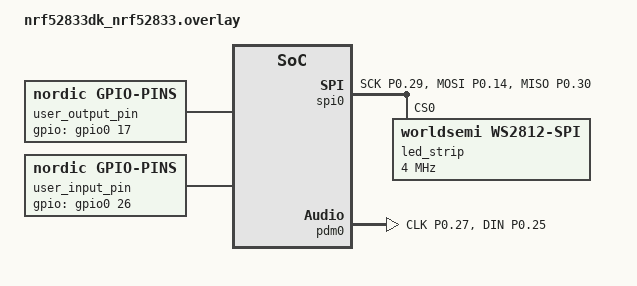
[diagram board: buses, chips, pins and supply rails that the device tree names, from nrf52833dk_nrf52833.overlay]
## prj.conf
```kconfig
CONFIG_ADC=y
CONFIG_NEWLIB_LIBC=y
CONFIG_NEWLIB_LIBC_FLOAT_PRINTF=y
CONFIG_GPIO=y
CONFIG_SPI=y
# CONFIG_WS2812_STRIP=y
CONFIG_LED_STRIP=y


CONFIG_BT=y
CONFIG_BT_PERIPHERAL=y
CONFIG_BT_DEVICE_NAME="Mic-Sense"

CONFIG_BT_BUF_ACL_TX_SIZE=251
CONFIG_BT_BUF_ACL_TX_COUNT=10
CONFIG_BT_BUF_ACL_RX_SIZE=251

# Enable dynamic TX power so USE_LOW_TX_POWER can set it at runtime (e.g. -8 dBm)
CONFIG_BT_CTLR_TX_PWR_DYNAMIC_CONTROL=y



CONFIG_RTT_CONSOLE=y
CONFIG_STDOUT_CONSOLE=y
CONFIG_UART_CONSOLE=n
CONFIG_USE_SEGGER_RTT=y
CONFIG_SHELL_BACKEND_RTT=y
CONFIG_LOG=y

CONFIG_CLOCK_CONTROL_NRF_K32SRC_RC=y
CONFIG_CLOCK_CONTROL_NRF_K32SRC_XTAL=n

# Clock source: NINA-B406 has NO LF crystal → use RC with calibration
CONFIG_CLOCK_CONTROL_NRF_K32SRC_RC=y
CONFIG_CLOCK_CONTROL_NRF_K32SRC_XTAL=n
CONFIG_CLOCK_CONTROL_NRF_K32SRC_RC_CALIBRATION=y


#central device role
CONFIG_BT=y
CONFIG_BT_CENTRAL=y
CONFIG_BT_OBSERVER=y
CONFIG_BT_GATT_CLIENT=y
CONFIG_BT_SCAN=y
CONFIG_BT_SMP=y
```

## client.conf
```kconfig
#central device role
CONFIG-CLIENT=y 
CONFIG_BT=y
CONFIG_BT_CENTRAL=y
CONFIG_BT_OBSERVER=y
CONFIG_BT_GATT_CLIENT=y
CONFIG_BT_SCAN=y
CONFIG_BT_SMP=y
```

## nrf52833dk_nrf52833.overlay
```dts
// To get started, press Ctrl+Space to bring up the completion menu and view the available nodes.

// You can also use the buttons in the sidebar to perform actions on nodes.
// Actions currently available include:

// * Enabling / disabling the node
// * Adding the bus to a bus
// * Removing the node
// * Connecting ADC channels

// For more help, browse the DeviceTree documentation at https://docs.zephyrproject.org/latest/guides/dts/index.html
// You can also visit the nRF DeviceTree extension documentation at https://docs.nordicsemi.com/bundle/nrf-connect-vscode/page/guides/ncs_configure_app.html#devicetree-support-in-the-extension

// 	model = "Nordic nRF52833 DK NRF52833";
// 	compatible = "nordic,nrf52833-dk-nrf52833";

#include <zephyr/dt-bindings/led/led.h>

// #include "nrf52-bindings.h"

&spi0 {
	compatible = "nordic,nrf-spi";
	status = "okay";
	pinctrl-0 = <&spi0_custom>;
	pinctrl-1 = <&spi0_sleep>;
	pinctrl-names = "default", "sleep";

	led_strip: ws2812@0 {
		compatible = "worldsemi,ws2812-spi";

		/* SPI */
		reg = <0>; /* ignored, but necessary for SPI bindings */
		spi-max-frequency = <4000000>;

		/* WS2812 */
		chain-length = <1>; /* arbitrary; change at will */
		color-mapping = <LED_COLOR_ID_GREEN
				 LED_COLOR_ID_RED
				 LED_COLOR_ID_BLUE>;
		spi-one-frame = <0x70>;
		spi-zero-frame = <0x40>;
        status = "okay";
	};

	
};

/ {
	aliases {
		led-strip = &led_strip;
	};
};

&pinctrl {
	spi0_custom: spi0_custom {
		group1 {
			psels = <NRF_PSEL(SPIM_SCK, 0, 29)>,
				<NRF_PSEL(SPIM_MOSI, 0, 14)>,
				<NRF_PSEL(SPIM_MISO, 0, 30)>;
		};
	};

	spi0_sleep: spi0_sleep {
		group1 {
			psels = <NRF_PSEL(SPIM_SCK, 0, 29)>,
				<NRF_PSEL(SPIM_MOSI, 0, 14)>,
				<NRF_PSEL(SPIM_MISO, 0, 30)>;
			low-power-enable;
		};
	};
};


&gpio0 {
    status = "okay";
};


/ {
    user_output_pin: user-output-pin {
        compatible = "nordic,gpio-pins";
        gpios = <&gpio0 17 GPIO_ACTIVE_HIGH>;
        status = "okay";
    };

};

/ {
    user_input_pin: user-input-pin {
        compatible = "nordic,gpio-pins";
        gpios = <&gpio0 26 GPIO_ACTIVE_HIGH>;
        status = "okay";
    };
};


&pdm0 {
    status = "okay";
    pinctrl-0 = <&pdm_default>;
    pinctrl-1 = <&pdm_sleep>;
    pinctrl-names = "default", "sleep";
};

&pinctrl {
    pdm_default: pdm_default {
        group1 {
            psels = <NRF_PSEL(PDM_CLK, 0, 27)>,
                    <NRF_PSEL(PDM_DIN, 0, 25)>;
        };
    };

    pdm_sleep: pdm_sleep {
        group1 {
            psels = <NRF_PSEL(PDM_CLK, 0, 27)>,
                    <NRF_PSEL(PDM_DIN, 0, 25)>;
            low-power-enable;
        };
    };
};
```

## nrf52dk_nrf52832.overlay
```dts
#include <zephyr/dt-bindings/led/led.h>

#include "nrf52-bindings.h"

&arduino_spi { /* MOSI on D11 / P0.23 */
	compatible = "nordic,nrf-spim";
	led_strip: ws2812@0 {
		compatible = "worldsemi,ws2812-spi";

		/* SPI */
		reg = <0>; /* ignored, but necessary for SPI bindings */
		spi-max-frequency = <SPI_FREQ>;

		/* WS2812 */
		chain-length = <4>; /* arbitrary; change at will */
		color-mapping = <LED_COLOR_ID_GREEN
				 LED_COLOR_ID_RED
				 LED_COLOR_ID_BLUE>;
		spi-one-frame = <ONE_FRAME>;
		spi-zero-frame = <ZERO_FRAME>;
	};
};

/ {
	aliases {
		led-strip = &led_strip;
	};
};
```

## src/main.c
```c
#include <zephyr/device.h>
#include <zephyr/devicetree.h>
#include <zephyr/drivers/adc.h>
#include <zephyr/kernel.h>
#include <zephyr/sys/util.h>
#include <zephyr/device.h>
#include <zephyr/devicetree.h>
#include <zephyr/drivers/gpio.h>
#include "micsense_service.h"
#include <zephyr/drivers/led_strip.h>
#include <stddef.h>
#include <string.h>
#include <errno.h>
#include <soc.h>
#include <math.h>
#include <stdio.h>

#ifndef M_PI
#define M_PI 3.14159265358979323846f
#endif


/* ──────────────────────────────────────────────────────────────
 * Status LED control (WS2812)
 *
 * If USE_STATUS_LED is defined at compile time, the WS2812 status
 * LED will be driven normally. If it is NOT defined, all LED calls
 * become no‑ops so you can measure current without LED impact.
 * ──────────────────────────────────────────────────────────── */

#ifdef USE_STATUS_LED

#define STRIP_NODE DT_ALIAS(led_strip)
#define STRIP_NUM_PIXELS DT_PROP(STRIP_NODE, chain_length)
#define DELAY_TIME K_MSEC(5)

#define LED_BLINK_ADV_SLOW K_MSEC(1000)  // Slow blinking (yellow) for advertising
#define LED_BLINK_CONN_FAST K_MSEC(200) // Fast blinking (orange) for connecting
#define LED_CONNECTED_GREEN K_MSEC(0)   // Solid green for connected


static enum ble_state current_ble_state = BLE_STATE_IDLE;
static struct k_timer led_blink_timer;
static bool led_on = false;

static struct led_rgb pixels[STRIP_NUM_PIXELS];
static const struct device *strip = DEVICE_DT_GET(STRIP_NODE);

#else /* !USE_STATUS_LED */

void update_led_strip(uint8_t r, uint8_t g, uint8_t b)
{
    ARG_UNUSED(r);
    ARG_UNUSED(g);
    ARG_UNUSED(b);
}

void update_led_state(enum ble_state state)
{
    ARG_UNUSED(state);
}

#endif /* USE_STATUS_LED */

#define EN_PIN_NODE DT_NODELABEL(user_output_pin)
static const struct gpio_dt_spec pwr_En = GPIO_DT_SPEC_GET(EN_PIN_NODE, gpios);

#define PAIR_PIN DT_NODELABEL(user_input_pin)
static const struct gpio_dt_spec pair_pin = GPIO_DT_SPEC_GET(PAIR_PIN, gpios);

static struct gpio_callback input_cb_data;
static struct k_work button_work;

bool status = false;
int count = 0;
static bool advertising_active = false;
#define AUDIO_BUFFER_SIZE 16000 // e.g., 1 second at 16 kHz
int16_t audio_buffer[AUDIO_BUFFER_SIZE];
volatile uint32_t audio_write_index = 0;

#define SLEEP_TIME_MS 100
float db = 0.0;
int16_t db_int = 0;
#define ADC_NODE DT_NODELABEL(adc)
static const struct device *adc_dev = DEVICE_DT_GET(ADC_NODE);

#define ADC_RESOLUTION 12
#define ADC_CHANNEL 0
#define ADC_PORT SAADC_CH_PSELP_PSELP_AnalogInput0 // AIN0
#define ADC_REFERENCE ADC_REF_INTERNAL             // 0.6V
#define ADC_GAIN ADC_GAIN_1_6                      // ADC_REFERENCE * 5

#define BATTERY_ADC_CHANNEL 1                              // Battery
#define BATTERY_ADC_PORT SAADC_CH_PSELP_PSELP_AnalogInput1 // AIN1

struct adc_channel_cfg chl0_cfg = {
    .gain = ADC_GAIN,
    .reference = ADC_REFERENCE,
    .acquisition_time = ADC_ACQ_TIME_DEFAULT,
    .channel_id = ADC_CHANNEL,
#ifdef CONFIG_ADC_NRFX_SAADC
    .input_positive = ADC_PORT
#endif
};

// Config for the battery ADC
struct adc_channel_cfg battery_ch_cfg = {
    .gain = ADC_GAIN,
    .reference = ADC_REFERENCE,
    .acquisition_time = ADC_ACQ_TIME_DEFAULT,
    .channel_id = BATTERY_ADC_CHANNEL,
#ifdef CONFIG_ADC_NRFX_SAADC
    .input_positive = BATTERY_ADC_PORT
#endif
};

int16_t sampleBuffer[1];
struct adc_sequence sequence = {
    .channels    = BIT(ADC_CHANNEL),
    .buffer      = sampleBuffer,
    .buffer_size = sizeof(sampleBuffer),
    .resolution  = ADC_RESOLUTION
};

// ADC Battery Sequence
int16_t battery_sample[1];
struct adc_sequence battery_sequence = {
    .channels    = BIT(BATTERY_ADC_CHANNEL),
    .buffer      = battery_sample,
    .buffer_size = sizeof(battery_sample),
    .resolution  = ADC_RESOLUTION
};

#ifdef USE_BLE
static const struct bt_data ad[] = {
    BT_DATA_BYTES(BT_DATA_FLAGS, (BT_LE_AD_GENERAL | BT_LE_AD_NO_BREDR)),
    BT_DATA_BYTES(BT_DATA_UUID128_ALL, BT_UUID_SET_THRESHOLD_SERVICE_VAL),
};
#endif

static struct k_timer button_timer;
static bool long_press_detected = false;


// ─────────────────────────────────────────────────────────────────────────────
// ADC / SAMPLING CONFIGURATION
// ─────────────────────────────────────────────────────────────────────────────
#define NUM_SAMPLES      5
#define SAMPLE_RATE_HZ   8000
#define FRAME_SAMPLES    64
#define HPF_R            0.995f   // ~16 Hz high-pass cutoff @ 8 kHz
#define FRAME_MS         ((1000 * FRAME_SAMPLES) / SAMPLE_RATE_HZ)  // 8 ms

// Band-pass filter centred on baby-cry fundamental (~800 Hz)
#define BPF_FC_HZ        800.0f
#define BPF_Q            0.707f

// ─────────────────────────────────────────────────────────────────────────────
// dB CALIBRATION  (AGC **disabled**)
// ─────────────────────────────────────────────────────────────────────────────
//
// MEASUREMENT REFERENCE:
//   UT353 reading  : 46 – 48 dBA  (≈ 47 dB average)
//   Board reading  : 38 – 41 dB   (≈ 39 – 40 dB, filtered int)
//   Raw dB offset  : UT353 − board ≈ +7 dB
//
// HOW THE dB IS COMPUTED:
//   db = 20 * log10(rms_mV) + DB_TOTAL_OFFSET
//
//   DB_TOTAL_OFFSET replaces the old separate calibration_offset + DB_BPF_GAIN_COMP
//   pair that was tuned for AGC-on.  With AGC disabled the signal chain is
//   linear so a single scalar offset is the cleanest approach.
//
// DERIVATION:
//   Old offset  = calibration_offset(0) + DB_BPF_GAIN_COMP(25) = 25 dB
//   Measured gap = +7 dB (board reads 7 dB too low vs. UT353)
//   New offset  = 25 + 7 = 32 dB
//
// If after flashing you still see a consistent offset, adjust DB_TOTAL_OFFSET
// by the difference:
//   board too LOW  by N dB  →  increase DB_TOTAL_OFFSET by N
//   board too HIGH by N dB  →  decrease DB_TOTAL_OFFSET by N
//
#define DB_TOTAL_OFFSET  32.0f

// EMA smoothing (α = 0.1 → ~10-frame time constant ≈ 80 ms)
#define SMOOTHING_ALPHA  0.1f

// ─────────────────────────────────────────────────────────────────────────────
// SOUND LEVEL THRESHOLDS  (kept in real-world dB SPL now that we're calibrated)
// ─────────────────────────────────────────────────────────────────────────────
#define QUIET_THRESHOLD_MAX   50.0f   // < 50 dB  → Quiet
#define MEDIUM_THRESHOLD_MAX  70.0f   // 50–70 dB → Medium
// > 70 dB → Loud

static float db_filtered = 0.0f;
static int32_t baseline_dc = 1500;

typedef struct {
    float a0, a1, a2, b1, b2, z1, z2;
} biquad_t;

static biquad_t bpf;


static float hpf_prev_x = 0.0f;
static float hpf_prev_y = 0.0f;

// ─────────────────────────────────────────────────────────────────────────────
// dB ALERT GATING
// ─────────────────────────────────────────────────────────────────────────────
#define TRIGGER_HOLD_MS    200
#define RESET_HOLD_MS      100
#define NOTIFY_COOLDOWN_MS 400

static uint32_t above_ms   = 0;
static uint32_t below_ms   = 0;
static uint32_t last_notify_ms = 0;
static int notify_armed    = 1;


// ─────────────────────────────────────────────────────────────────────────────
// BABY CRY DETECTION  (raw dB burst-counting state machine)
// ─────────────────────────────────────────────────────────────────────────────
//
// Now that the dB values are calibrated to real SPL, these thresholds are
// expressed in actual dB SPL.
//
// Typical baby cry: 60 – 80 dB SPL at 1 m.
// Quiet room (baby sleeping): 40 – 50 dB SPL.
//
// Entry threshold is set conservatively low (55 dB) to catch the rising edge
// of a cry before it reaches full volume, while the lift guard (+6 dB above
// the rolling baseline) prevents false triggers from slow ambient rises.
//
#define CRY_RAW_ENTER_DB          55.0f   // SPL: cry onset (dataset: spikes to 60–71)
#define CRY_RAW_EXIT_DB           52.0f   // SPL: inter-burst dip / back to baseline
#define CRY_BURST_MIN_MS          300     // Reject spikes < 300 ms (cough, door)
#define CRY_BURST_MAX_MS          12000   // Reject continuous sounds > 12 s (TV, fan)
#define CRY_BURST_COUNT_REQUIRED  2       // Minimum bursts in window to confirm cry
#define CRY_EPISODE_WINDOW_MS     15000   // Rolling window for burst counting (15 s)
#define CRY_RISE_GUARD_DB         6.0f    // Must lift ≥ 6 dB above rolling baseline
#define CRY_ALERT_COOLDOWN_MS     5000    // 5 s between BLE notifications
#define BASELINE_EMA_ALPHA        0.05f   // Slow baseline tracker (quiet periods only)
#define BURST_HISTORY_SIZE        8

typedef enum {
    CRY_STATE_IDLE = 0,
    CRY_STATE_BURST_ACTIVE,
    CRY_STATE_CONFIRMED,
} cry_sm_state_t;

typedef struct {
    cry_sm_state_t  state;
    uint32_t        burst_start_ms;
    float           burst_peak_raw_db;
    uint32_t        burst_end_times_ms[BURST_HISTORY_SIZE];
    uint8_t         burst_head;
    uint8_t         burst_count_total;
    float           baseline_raw_db;
    uint32_t        last_alert_ms;
    bool            cry_detected;
    bool            episode_active;
    uint8_t         confirmed_burst_count;
} baby_cry_sm_t;

static baby_cry_sm_t cry_sm = {
    .state              = CRY_STATE_IDLE,
    .baseline_raw_db    = 47.0f,   // initialise near expected quiet-room SPL
    .last_alert_ms      = 0,
    .cry_detected       = false,
    .episode_active     = false,
};

// ─────────────────────────────────────────────────────────────────────────────
// DC BASELINE CALIBRATION
// ─────────────────────────────────────────────────────────────────────────────
#define NUM_CAL_SAMPLES 5

static void button_work_handler(struct k_work *work)
{
    if (k_timer_status_get(&button_timer) > 0) {
        /* Timer expired before release → long press */
        LOG_PRINT("Long press detected!\n");
        gpio_pin_set_dt(&pwr_En, 0);
        while (1) {
            k_sleep(K_FOREVER);
        }
    } else {
        /* Released before timer expired → short press */
        LOG_PRINT("Short press detected.\n");

#ifdef USE_BLE
        LOG_PRINT("Toggling BLE advertising...\n");
        int err;
        if (advertising_active) {
            err = bt_le_adv_stop();
            if (!err) {
                advertising_active = false;
                update_led_state(BLE_STATE_IDLE);
            }
        } else {
            err = bt_le_adv_start(BT_LE_ADV_CONN_NAME, ad, ARRAY_SIZE(ad), NULL, 0);
            if (!err) {
                advertising_active = true;
                update_led_state(BLE_STATE_ADVERTISING);
            }
        }
#else
        /* BLE disabled: no advertising */
        ARG_UNUSED(advertising_active);
#endif
    }

    k_timer_stop(&button_timer); // cleanup
}

void button_timer_expiry(struct k_timer *timer_id)
{
    long_press_detected = true;
    k_work_submit(&button_work); // Submit the work handler for long press
}

void input_pin_isr(const struct device *dev, struct gpio_callback *cb, uint32_t pins)
{
    bool pin_state = gpio_pin_get_dt(&pair_pin);

    if (pin_state) {
        // button pressed → start timer
        k_timer_start(&button_timer, K_SECONDS(3), K_NO_WAIT);
    } else {
        // button released → schedule work to decide short/long
        k_work_submit(&button_work);
    }
}

#ifdef USE_STATUS_LED
void update_led_strip(uint8_t r, uint8_t g, uint8_t b)
{
    /* Set the RGB values for all the pixels */
    for (int i = 0; i < STRIP_NUM_PIXELS; i++) {
        pixels[i].r = r;
        pixels[i].g = g;
        pixels[i].b = b;
    }

    /* Update the LED strip */
    led_strip_update_rgb(strip, pixels, STRIP_NUM_PIXELS);
}

void update_led_state(enum ble_state state)
{
    current_ble_state = state;

    switch (state) {
    case BLE_STATE_ADVERTISING:
        update_led_strip(16, 16, 0);   /* dim yellow */
        break;

    case BLE_STATE_CONNECTING:
        update_led_strip(16, 8, 0);    /* dim orange */
        break;

    case BLE_STATE_CONNECTED:
        update_led_strip(0, 16, 0);    /* dim green */
        break;

    default:
        update_led_strip(16, 0, 0);    /* dim red (idle/error) */
        break;
    }
}
#endif /* USE_STATUS_LED */

static void biquad_init_bandpass(biquad_t *s, float fs, float f0, float q)
{
    float w0     = 2.0f * (float)M_PI * f0 / fs;
    float sin_w0 = sinf(w0), cos_w0 = cosf(w0);
    float alpha  = sin_w0 / (2.0f * q);
    float b0 = q * alpha, b1 = 0.0f, b2 = -q * alpha;
    float a0 = 1.0f + alpha, a1 = -2.0f * cos_w0, a2 = 1.0f - alpha;
    s->a0 = b0/a0; s->a1 = b1/a0; s->a2 = b2/a0;
    s->b1 = a1/a0; s->b2 = a2/a0;
    s->z1 = 0.0f;  s->z2 = 0.0f;
}

static inline float biquad_process(biquad_t *s, float x)
{
    float y = s->a0 * x + s->z1;
    s->z1   = s->a1 * x - s->b1 * y + s->z2;
    s->z2   = s->a2 * x - s->b2 * y;
    return y;
}

static const char *get_sound_level_string(float db_value)
{
    if (db_value < QUIET_THRESHOLD_MAX)  return "Quiet";
    if (db_value < MEDIUM_THRESHOLD_MAX) return "Medium";
    return "Loud";
}

static uint8_t count_recent_bursts(uint32_t now_ms)
{
    uint8_t n    = 0;
    uint8_t size = (cry_sm.burst_count_total < BURST_HISTORY_SIZE)
                   ? cry_sm.burst_count_total : BURST_HISTORY_SIZE;
    for (uint8_t i = 0; i < size; i++) {
        if ((now_ms - cry_sm.burst_end_times_ms[i]) <= CRY_EPISODE_WINDOW_MS) n++;
    }
    return n;
}

static void record_burst(uint32_t end_ms)
{
    cry_sm.burst_end_times_ms[cry_sm.burst_head] = end_ms;
    cry_sm.burst_head = (cry_sm.burst_head + 1) % BURST_HISTORY_SIZE;
    cry_sm.burst_count_total++;
}

void update_cry_detector_raw(float raw_db, uint32_t now_ms)
{
    cry_sm.cry_detected = false;

    // Update rolling baseline only during quiet frames
    if (raw_db < CRY_RAW_EXIT_DB) {
        cry_sm.baseline_raw_db = BASELINE_EMA_ALPHA * raw_db
                                 + (1.0f - BASELINE_EMA_ALPHA) * cry_sm.baseline_raw_db;
    }

    float lift = raw_db - cry_sm.baseline_raw_db;

    switch (cry_sm.state) {

    case CRY_STATE_IDLE:
        if (raw_db >= CRY_RAW_ENTER_DB && lift >= CRY_RISE_GUARD_DB) {
            cry_sm.burst_start_ms    = now_ms;
            cry_sm.burst_peak_raw_db = raw_db;
            cry_sm.state             = CRY_STATE_BURST_ACTIVE;
            LOG_PRINT("CRY: [BURST START] raw=%.1f dB, lift=%.1f dB\n", raw_db, lift);
        }
        break;

    case CRY_STATE_BURST_ACTIVE:
        if (raw_db > cry_sm.burst_peak_raw_db) cry_sm.burst_peak_raw_db = raw_db;
        {
            uint32_t dur = now_ms - cry_sm.burst_start_ms;

            if (raw_db < CRY_RAW_EXIT_DB) {
                if (dur < CRY_BURST_MIN_MS) {
                    LOG_PRINT("CRY: [REJECT SHORT] %u ms, peak=%.1f dB\n",
                              dur, cry_sm.burst_peak_raw_db);
                    cry_sm.state = CRY_STATE_IDLE;
                    break;
                }
                if (dur > CRY_BURST_MAX_MS) {
                    LOG_PRINT("CRY: [REJECT LONG] %u ms\n", dur);
                    cry_sm.state = CRY_STATE_IDLE;
                    break;
                }
                record_burst(now_ms);
                uint8_t recent = count_recent_bursts(now_ms);
                // printf("CRY: [VALID BURST] %u ms, peak=%.1f dB, bursts=%u/%u\n",
                //        dur, cry_sm.burst_peak_raw_db, recent, CRY_BURST_COUNT_REQUIRED);
                cry_sm.state = CRY_STATE_IDLE;

                if (recent >= CRY_BURST_COUNT_REQUIRED) {
                    uint32_t elapsed = now_ms - cry_sm.last_alert_ms;
                    if (elapsed >= CRY_ALERT_COOLDOWN_MS || cry_sm.last_alert_ms == 0) {
                        cry_sm.cry_detected          = true;
                        cry_sm.episode_active        = true;
                        cry_sm.confirmed_burst_count = recent;
                        cry_sm.last_alert_ms         = now_ms;
                        cry_sm.state                 = CRY_STATE_CONFIRMED;
                        LOG_PRINT("CRY: *** BABY CRY CONFIRMED *** %u bursts\n", recent);
                    }
                }
            } else if (dur > CRY_BURST_MAX_MS) {
                LOG_PRINT("CRY: [REJECT LONG - ongoing] %u ms\n", dur);
                cry_sm.state = CRY_STATE_IDLE;
            }
        }
        break;

    case CRY_STATE_CONFIRMED:
        cry_sm.episode_active = true;
        if ((now_ms - cry_sm.last_alert_ms) >= CRY_ALERT_COOLDOWN_MS) {
            cry_sm.episode_active = false;
            cry_sm.state          = CRY_STATE_IDLE;
        }
        break;

    default:
        cry_sm.state = CRY_STATE_IDLE;
        break;
    }
}

static inline bool    is_baby_cry_detected(void)  { return cry_sm.cry_detected; }
static inline bool    is_cry_episode_active(void) { return cry_sm.episode_active; }
static inline uint8_t get_cry_burst_count(void)   { return cry_sm.confirmed_burst_count; }

static void reset_cry_detection(void)
{
    cry_sm.state                 = CRY_STATE_IDLE;
    cry_sm.cry_detected          = false;
    cry_sm.episode_active        = false;
    cry_sm.confirmed_burst_count = 0;
    cry_sm.burst_count_total     = 0;
    cry_sm.burst_head            = 0;
    memset(cry_sm.burst_end_times_ms, 0, sizeof(cry_sm.burst_end_times_ms));
    LOG_PRINT("CRY: Detection reset\n");
}

void calibrate_baseline_dc(void)
{
    int32_t total = 0;
    for (int i = 0; i < NUM_CAL_SAMPLES; i++) {
        if (adc_read(adc_dev, &sequence) == 0) {
            int32_t mv = sampleBuffer[0];
            adc_raw_to_millivolts(adc_ref_internal(adc_dev), ADC_GAIN, ADC_RESOLUTION, &mv);
            total += mv;
        }
        k_msleep(5);
    }
    baseline_dc = total / NUM_CAL_SAMPLES;
    LOG_PRINT("Calibrated baseline DC: %d mV\n", baseline_dc);
}

// ─────────────────────────────────────────────────────────────────────────────
// MAIN
// ─────────────────────────────────────────────────────────────────────────────
int main(void)
{
    int err;
    LOG_PRINT("Startup\n");
    update_led_strip(0, 16, 16);

    k_work_init(&button_work, button_work_handler);
    k_timer_init(&button_timer, button_timer_expiry, NULL);
    update_led_state(BLE_STATE_IDLE);

    if (!device_is_ready(pwr_En.port)) { 
        LOG_PRINT("GPIO port not ready\n"); 
        return 0; 
    }
    gpio_pin_configure_dt(&pwr_En, GPIO_OUTPUT_ACTIVE);
    gpio_pin_set_dt(&pwr_En, 1);

    if (!gpio_is_ready_dt(&pair_pin)) return 0;
    gpio_pin_configure_dt(&pair_pin, GPIO_INPUT);
    gpio_pin_interrupt_configure_dt(&pair_pin, GPIO_INT_EDGE_BOTH);
    gpio_init_callback(&input_cb_data, input_pin_isr, BIT(pair_pin.pin));
    gpio_add_callback(pair_pin.port, &input_cb_data);

#ifdef USE_BLE
    init_ble();
#endif

    advertising_active = false;
    update_led_strip(16, 0, 0);

    if (!device_is_ready(adc_dev)) { 
        LOG_PRINT("ADC Device not ready\n"); 
        return 0; 
    }

    err = adc_channel_setup(adc_dev, &chl0_cfg);
    if (err) { 
        LOG_PRINT("ADC Setup failed: %d\n", err); 
        return 0; 
    }

    err = adc_channel_setup(adc_dev, &battery_ch_cfg);
    if (err) { 
        LOG_PRINT("Battery ADC Setup failed: %d\n", err); 
        return 0; 
    }

    biquad_init_bandpass(&bpf, (float)SAMPLE_RATE_HZ, BPF_FC_HZ, BPF_Q);

    LOG_PRINT("Calibrating microphone DC offset...\n");
    calibrate_baseline_dc();

    while (1)
    {
        // ── Sample one frame ──────────────────────────────────────────────
        int32_t sum_sq = 0;
        for (int i = 0; i < FRAME_SAMPLES; i++) {
            err = adc_read(adc_dev, &sequence);
            if (err != 0) { 
                LOG_PRINT("ADC read error %d\n", err); 
                continue; 
            }

            int32_t mv_value = sampleBuffer[0];
            adc_raw_to_millivolts(adc_ref_internal(adc_dev), ADC_GAIN, ADC_RESOLUTION, &mv_value);

            float x  = (float)(mv_value - baseline_dc);

            // DC-blocking high-pass filter
            float y  = x - hpf_prev_x + HPF_R * hpf_prev_y;
            hpf_prev_x = x;
            hpf_prev_y = y;

            // Band-pass filter (emphasises 800 Hz region)
            float y_bp = biquad_process(&bpf, y);

            // Clamp to avoid int32 overflow in accumulator
            if (y_bp >  3000.0f) y_bp =  3000.0f;
            if (y_bp < -3000.0f) y_bp = -3000.0f;
            sum_sq += (int32_t)(y_bp * y_bp);

            k_busy_wait(1000000 / SAMPLE_RATE_HZ);   // pacing for 8 kHz
        }

        // ── Compute dB SPL ────────────────────────────────────────────────
        float rms = sqrtf((float)sum_sq / FRAME_SAMPLES);
        if (rms < 1.0f) rms = 1.0f;   // avoid log10(0)

        // DB_TOTAL_OFFSET = BPF gain compensation (25 dB) + calibration vs UT353 (+7 dB)
        db          = 20.0f * log10f(rms) + DB_TOTAL_OFFSET;
        db_filtered = SMOOTHING_ALPHA * db + (1.0f - SMOOTHING_ALPHA) * db_filtered;
        db_int      = (int8_t)(db_filtered);

        LOG_PRINT("Sound Level: %s (dB=%d)\n", get_sound_level_string(db_filtered), db_int);
        k_msleep(25);

        // ── Baby cry detection ────────────────────────────────────────────
        uint32_t now_ms = k_uptime_get_32();
        update_cry_detector_raw(db, now_ms);   // pass RAW db (unfiltered)

        if (is_baby_cry_detected()) {
            baby_cry_detected = 1;

#ifdef USE_BLE
            if (my_connection) {
                err = bt_gatt_notify(my_connection, baby_cry_attr,
                                     &baby_cry_detected, sizeof(baby_cry_detected));
                if (err) { LOG_PRINT("Failed to notify baby cry (err %d)\n", err); }
                else     { LOG_PRINT("Baby Cry Notification sent: %d\n", baby_cry_detected); }
            }
#endif
        } else if (!is_cry_episode_active()) {
            // Reset baby cry flag when episode ends
            baby_cry_detected = 0;
        }

        // ── Threshold alert ───────────────────────────────────────────────
        if (db_filtered >= threshold_value) {
            above_ms += FRAME_MS;
            below_ms  = 0;
            alertThreshold = 1;

#ifdef USE_BLE
            if (my_connection) {
                err = bt_gatt_notify(my_connection, alert_threshold_attr,
                                     &alertThreshold, sizeof(alertThreshold));
                // if (err) printf("Failed to notify threshold (err %d)\n", err);
            }
#endif
        } else {
            below_ms     += FRAME_MS;
            above_ms      = 0;
            alertThreshold = 0;
            if (!notify_armed && below_ms >= RESET_HOLD_MS) notify_armed = 1;
        }

        // ── dB streaming ─────────────────────────────────────────────────
#ifdef USE_BLE
        if (sound_streaming_enabled > 0 && my_connection) {
            db_int = (int8_t)(db_filtered);
            err = bt_gatt_notify(my_connection, getStreamService_attr, &db_int, sizeof(db_int));
            if (err) { LOG_PRINT("Failed to stream dB (err %d)\n", err); }
            else     { LOG_PRINT("dB Notification sent: %d\n", db_int); }
        }
#endif
    }

    return 0;
}
```

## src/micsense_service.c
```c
#include <zephyr/types.h>
#include <stddef.h>
#include <string.h>
#include <errno.h>
#include <soc.h>

#include <zephyr/bluetooth/bluetooth.h>
#include <zephyr/bluetooth/hci.h>
#include <zephyr/bluetooth/hci_vs.h>
#include <zephyr/bluetooth/conn.h>
#include <zephyr/bluetooth/gatt.h>
#include <zephyr/bluetooth/uuid.h>
#include <zephyr/net/buf.h>
#include <zephyr/sys/byteorder.h>
#include "micsense_service.h"

#ifdef USE_LOW_TX_POWER
/* TX power in dBm when USE_LOW_TX_POWER is defined (e.g. -8 for same-room range) */
#define BLE_TX_POWER_LOW_DBM  (-8)
#endif
/* UUIDs Definitions */
// / 2. UUID DECLARATIONS (for GATT)
#define BT_UUID_GET_THRESHOLD_SERVICE           BT_UUID_DECLARE_128(BT_UUID_GET_THRESHOLD_SERVICE_VAL)
#define BT_UUID_GET_THRESHOLD_CHARACTERISTIC    BT_UUID_DECLARE_128(BT_UUID_GET_THRESHOLD_CHARACTERISTIC_VAL)

#define BT_UUID_SET_THRESHOLD_SERVICE           BT_UUID_DECLARE_128(BT_UUID_SET_THRESHOLD_SERVICE_VAL)
#define BT_UUID_SET_THRESHOLD_CHARACTERISTIC    BT_UUID_DECLARE_128(BT_UUID_SET_THRESHOLD_CHARACTERISTIC_VAL)

#define BT_UUID_GET_BATTERY_SERVICE              BT_UUID_DECLARE_128(BT_UUID_GET_BATTERY_SERVICE_VAL)
#define BT_UUID_GET_BATTERY_CHARACTERISTIC       BT_UUID_DECLARE_128(BT_UUID_GET_BATTERY_CHARACTERISTIC_VAL)

#define BT_UUID_GET_SOUND_LEVEL_SERVICE          BT_UUID_DECLARE_128(BT_UUID_GET_SOUND_LEVEL_SERVICE_VAL)
#define BT_UUID_GET_SOUND_LEVEL_CHARACTERISTIC   BT_UUID_DECLARE_128(BT_UUID_GET_SOUND_LEVEL_CHARACTERISTIC_VAL)

#define BT_UUID_SET_SOUND_LEVEL_SERVICE          BT_UUID_DECLARE_128(BT_UUID_SET_SOUND_LEVEL_SERVICE_VAL)
#define BT_UUID_SET_SOUND_LEVEL_CHARACTERISTIC   BT_UUID_DECLARE_128(BT_UUID_SET_SOUND_LEVEL_CHARACTERISTIC_VAL)

#define BT_UUID_THRESHOLD_ALERT_SERVICE          BT_UUID_DECLARE_128(BT_UUID_THRESHOLD_ALERT_SERVICE_VAL)
#define BT_UUID_THRESHOLD_ALERT_CHARACTERISTIC   BT_UUID_DECLARE_128(BT_UUID_THRESHOLD_ALERT_CHARACTERISTIC_VAL)

#define BT_UUID_BABY_CRY_SERVICE                 BT_UUID_DECLARE_128(BT_UUID_BABY_CRY_SERVICE_VAL)
#define BT_UUID_BABY_CRY_CHARACTERISTIC          BT_UUID_DECLARE_128(BT_UUID_BABY_CRY_CHARACTERISTIC_VAL)

#define BT_UUID_MICSENESE BT_UUID_DECLARE_128(BT_UUID_MICSENESE_VAL)
#define MAX_TRANSMIT_SIZE 1024
volatile bool ble_ready = false;

struct bt_conn *my_connection = NULL;
bool notify_enabled = false;

uint8_t threshold_value  = 50;    // Example threshold
static uint8_t battery_level = 40;       // Simulated battery %
static uint8_t sound_level = 0;          // Simulated sound
uint8_t sound_streaming_enabled = 0;
static bool threshold_alert_enabled = false;
uint8_t alertThreshold;
uint8_t baby_cry_detected = 0;           // Baby cry detection status (0 or 1)


int MICSENSE_service_init(void)
{
    return 0;
}


static ssize_t on_receive(struct bt_conn *conn,
                          const struct bt_gatt_attr *attr,
                          const void *buf,
                          uint16_t len,
                          uint16_t offset,
                          uint8_t flags)
{
    uint8_t received_value;

    // Safely copy the received buffer into the integer
    memcpy(&received_value, buf, sizeof(uint8_t));
    threshold_value = received_value;
    LOG_PRINT("Received integer: %d\n", received_value);
    LOG_PRINT("------Value stored in threshold variable: %d\n", threshold_value);
    return len;  // Return the length of data written
}

static ssize_t on_SetStream(struct bt_conn *conn,
    const struct bt_gatt_attr *attr,
    const void *buf,
    uint16_t len,
    uint16_t offset,
    uint8_t flags)
{
uint8_t received_value;

// Safely copy the received buffer into the integer
memcpy(&received_value, buf, sizeof(uint8_t));
sound_streaming_enabled = received_value;
LOG_PRINT("Received Set Stream: %d\n", received_value);
return len;  // Return the length of data written
}


ssize_t on_getThreshold(struct bt_conn *conn,
    const struct bt_gatt_attr *attr,
    const void *buf,
    uint16_t len,
    uint16_t offset)
{
LOG_PRINT("In On get Threshold function\n");
return bt_gatt_attr_read(conn, attr, buf,len, offset, &threshold_value, sizeof(threshold_value)); // Handle reading logic here if needed
};

void on_cccd_changed(const struct bt_gatt_attr *attr, uint16_t value)
{
    ARG_UNUSED(attr);
    switch (value)
    {
    case BT_GATT_CCC_NOTIFY:
        LOG_PRINT("Notifications enabled\n");
        notify_enabled = true;
        LOG_PRINT("Notifications %s\n", notify_enabled ? "enabled" : "disabled");
        break;
    case BT_GATT_CCC_INDICATE:
        // Handle indications if necessary
        break;
    case 0:
        LOG_PRINT("Notifications disabled\n");
        notify_enabled = false;
        LOG_PRINT("Notifications %s\n", notify_enabled ? "enabled" : "disabled");
        break;
    default:
        LOG_PRINT("Error, CCCD has been set to an invalid value\n");
    }
}

static ssize_t read_hello(struct bt_conn *conn,
    const struct bt_gatt_attr *attr,
    void *buf,
    uint16_t len,
    uint16_t offset)
{
const uint8_t *value = attr->user_data;
return bt_gatt_attr_read(conn, attr, buf, len, offset, value, sizeof(uint8_t));
}

static ssize_t read_baby_cry(struct bt_conn *conn,
    const struct bt_gatt_attr *attr,
    void *buf,
    uint16_t len,
    uint16_t offset)
{
    return bt_gatt_attr_read(conn, attr, buf, len, offset, &baby_cry_detected, sizeof(uint8_t));
}

// GATT service definition with read/write characteristics
BT_GATT_SERVICE_DEFINE(setThreshold,
                       BT_GATT_PRIMARY_SERVICE(BT_UUID_SET_THRESHOLD_SERVICE),
                       BT_GATT_CHARACTERISTIC(BT_UUID_SET_THRESHOLD_CHARACTERISTIC,
                                              BT_GATT_CHRC_WRITE,
                                              BT_GATT_PERM_WRITE,
                                              NULL, on_receive, NULL),  // Write characteristic
                       );
// Write sound level status to device (1 to start getting sound level, 0 to stop getting sound level)
// SET_SOUND_LEVEL_SERVICE
// SET_SOUND_LEVEL_CHARACTERISTIC
// const struct bt_gatt_attr *getStreamService_attr;
BT_GATT_SERVICE_DEFINE(setStreamService,
    BT_GATT_PRIMARY_SERVICE(BT_UUID_SET_SOUND_LEVEL_SERVICE),
    BT_GATT_CHARACTERISTIC(BT_UUID_SET_SOUND_LEVEL_CHARACTERISTIC,
                           BT_GATT_CHRC_WRITE,
                           BT_GATT_PERM_WRITE,
                           NULL,on_SetStream,  NULL),  // Read/Notify characteristic
    
    // BT_GATT_CCC(on_cccd_changed, BT_GATT_PERM_READ | BT_GATT_PERM_WRITE)
);


BT_GATT_SERVICE_DEFINE(getThreshold,
                       BT_GATT_PRIMARY_SERVICE(BT_UUID_GET_THRESHOLD_SERVICE),
                       BT_GATT_CHARACTERISTIC(BT_UUID_GET_THRESHOLD_CHARACTERISTIC,
                                              BT_GATT_CHRC_READ,
                                              BT_GATT_PERM_READ,
                                              read_hello, NULL, &threshold_value),  // Read/Notify characteristic
                       
                    //    BT_GATT_CCC(on_cccd_changed, BT_GATT_PERM_READ | BT_GATT_PERM_WRITE)
);

BT_GATT_SERVICE_DEFINE(batteryService,
    BT_GATT_PRIMARY_SERVICE(BT_UUID_GET_BATTERY_SERVICE),
    BT_GATT_CHARACTERISTIC(BT_UUID_GET_BATTERY_CHARACTERISTIC,
                           BT_GATT_CHRC_READ,
                           BT_GATT_PERM_READ,
                           read_hello, NULL, &battery_level),  // Read/Notify characteristic
    
    // BT_GATT_CCC(on_cccd_changed, BT_GATT_PERM_READ | BT_GATT_PERM_WRITE)
);

const struct bt_gatt_attr *alert_threshold_attr;

BT_GATT_SERVICE_DEFINE(alertThresholdSrvc,
    BT_GATT_PRIMARY_SERVICE(BT_UUID_THRESHOLD_ALERT_SERVICE),
    BT_GATT_CHARACTERISTIC(BT_UUID_THRESHOLD_ALERT_CHARACTERISTIC,
                           BT_GATT_CHRC_READ | BT_GATT_CHRC_NOTIFY,
                           BT_GATT_PERM_READ,
                           read_hello, NULL, &alertThreshold),  // Read/Notify characteristic
    
    BT_GATT_CCC(on_cccd_changed, BT_GATT_PERM_READ | BT_GATT_PERM_WRITE)
);




// Read current sound level from the device(Stream/Notification)
// GET_SOUND_LEVEL_SERVICE
// GET_SOUND_LEVEL_CHARACTERISTIC

const struct bt_gatt_attr *getStreamService_attr;
BT_GATT_SERVICE_DEFINE(getStreamService,
    BT_GATT_PRIMARY_SERVICE(BT_UUID_GET_SOUND_LEVEL_SERVICE),
    BT_GATT_CHARACTERISTIC(BT_UUID_GET_SOUND_LEVEL_CHARACTERISTIC,
                           BT_GATT_CHRC_READ | BT_GATT_CHRC_NOTIFY,
                           BT_GATT_PERM_READ,
                           read_hello, NULL, &db_int),  // Read/Notify characteristic
    
    BT_GATT_CCC(on_cccd_changed, BT_GATT_PERM_READ | BT_GATT_PERM_WRITE)
);

// Baby cry detection alert service
const struct bt_gatt_attr *baby_cry_attr;
BT_GATT_SERVICE_DEFINE(babyCrySrvc,
    BT_GATT_PRIMARY_SERVICE(BT_UUID_BABY_CRY_SERVICE),
    BT_GATT_CHARACTERISTIC(BT_UUID_BABY_CRY_CHARACTERISTIC,
                           BT_GATT_CHRC_READ | BT_GATT_CHRC_NOTIFY,
                           BT_GATT_PERM_READ,
                           read_baby_cry, NULL, &baby_cry_detected),  // Read/Notify characteristic
    
    BT_GATT_CCC(on_cccd_changed, BT_GATT_PERM_READ | BT_GATT_PERM_WRITE)
);




void setup_alert_service(void)
{
    alert_threshold_attr = &alertThresholdSrvc.attrs[1];
    getStreamService_attr = &getStreamService.attrs[1];
    baby_cry_attr = &babyCrySrvc.attrs[1];
}

#ifdef USE_LOW_TX_POWER
/**
 * Set BLE TX power via HCI vendor command (Nordic/Zephyr).
 * handle_type: BT_HCI_VS_LL_HANDLE_TYPE_ADV, _SCAN, or _CONN
 * handle: 0 for default advertising set; 0 for first connection when type is CONN
 */
static void set_ble_tx_power_dbm(uint8_t handle_type, uint16_t handle, int8_t power_dbm)
{
    struct net_buf *buf;
    struct net_buf *rsp = NULL;
    struct bt_hci_cp_vs_write_tx_power_level *cp;
    struct bt_hci_rp_vs_write_tx_power_level *rp;
    int err;

    buf = bt_hci_cmd_create(BT_HCI_OP_VS_WRITE_TX_POWER_LEVEL, sizeof(*cp));
    if (!buf) {
        LOG_PRINT("TX power: cmd buf failed\n");
        return;
    }
    cp = net_buf_add(buf, sizeof(*cp));
    cp->handle_type = handle_type;
    cp->handle = sys_cpu_to_le16(handle);
    cp->tx_power_level = power_dbm;

    err = bt_hci_cmd_send_sync(BT_HCI_OP_VS_WRITE_TX_POWER_LEVEL, buf, &rsp);
    if (err) {
        LOG_PRINT("TX power set failed (err %d)\n", err);
        return;
    }
    rp = (void *)rsp->data;
    if (rp->status) {
        LOG_PRINT("TX power HCI status %u\n", rp->status);
    } else {
        LOG_PRINT("TX power set to %d dBm (type %u)\n", power_dbm, handle_type);
    }
    net_buf_unref(rsp);
}
#endif




static void connected(struct bt_conn *conn, uint8_t err)
{
    struct bt_conn_info info;
    char addr[BT_ADDR_LE_STR_LEN];
    my_connection = conn;

    if (err) {
        LOG_PRINT("Connection failed (err %u)\n", err);
        return;
    }
    else if (bt_conn_get_info(conn, &info)) {
        LOG_PRINT("Could not parse info\n");
    }
    else {
        bt_addr_le_to_str(bt_conn_get_dst(conn), addr, sizeof(addr));
        LOG_PRINT("Connection established! Connected to: %s Role: %u Connection interval: %u Slave latency: %u Connection supervisory timeout: %u\n",
                  addr, info.role, info.le.interval, info.le.latency, info.le.timeout);

        setup_alert_service();
        update_led_state(BLE_STATE_CONNECTED);

#ifdef USE_LOW_RADIO_DUTY_CYCLE
        /* Longer interval + latency → lower radio duty cycle */
        const struct bt_le_conn_param *param = BT_LE_CONN_PARAM(80, 160, 4, 400);
#else
        /* Original, lower-latency settings */
        const struct bt_le_conn_param *param = BT_LE_CONN_PARAM(24, 40, 0, 400);
#endif

        int rc = bt_conn_le_param_update(conn, param);
        if (rc) {
            LOG_PRINT("conn param update failed (%d)\n", rc);
        }

#ifdef USE_LOW_TX_POWER
        /* Set TX power for this connection (handle 0 = first connection) */
        set_ble_tx_power_dbm(BT_HCI_VS_LL_HANDLE_TYPE_CONN, 0, BLE_TX_POWER_LOW_DBM);
#endif
    }
}


static void disconnected(struct bt_conn *conn, uint8_t reason)
{
    LOG_PRINT("Disconnected (reason %u)\n", reason);
    my_connection = NULL;
#ifdef USE_STATUS_LED
    update_led_state(BLE_STATE_ADVERTISING);
#endif
}

static struct bt_conn_cb conn_callbacks = {
    .connected = connected,
    .disconnected = disconnected};

void bt_ready(int err)
{
    if (err)
    {
        LOG_PRINT("BT_ENABLE RETURN %d\n", err);
    }
    LOG_PRINT("BT ENABLE\n");
    ble_ready = true;
    bt_conn_cb_register(&conn_callbacks);

#ifdef USE_LOW_TX_POWER
    /* Set advertising TX power to low (e.g. -8 dBm) for lower current */
    set_ble_tx_power_dbm(BT_HCI_VS_LL_HANDLE_TYPE_ADV, 0, BLE_TX_POWER_LOW_DBM);
#endif
}

int init_ble(void)
{
    LOG_PRINT("Initializing BLE\n");
    int err;
    err = bt_enable(bt_ready);
    if (err)
    {
        LOG_PRINT("Bt Enable failed with error code (code %d)\n", err);
        return err;
    }
    return 0;
}
```

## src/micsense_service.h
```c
#include <zephyr/types.h>
#include <stddef.h>
#include <string.h>
#include <errno.h>
#include <soc.h>

#include <zephyr/bluetooth/bluetooth.h>
#include <zephyr/bluetooth/hci.h>
#include <zephyr/bluetooth/conn.h>
#include <zephyr/bluetooth/gatt.h>
#include <zephyr/bluetooth/uuid.h>
#include <zephyr/sys/printk.h>

/* ──────────────────────────────────────────────────────────────
 * Compile‑time feature switches
 *
 *  - USE_STATUS_LED          : enable RGB status LED
 *  - USE_LOGGING             : enable runtime logging (printf-style)
 *  - USE_LOW_TX_POWER        : reduce BLE TX power (e.g. -8 dBm)
 *  - USE_LOW_RADIO_DUTY_CYCLE: longer conn interval/latency
 *  - USE_BLE                  : enable BLE stack (advertising, notifications)
 *
 * Define via compiler flags (e.g. -DUSE_LOGGING) or uncomment below.
 * LOG_PRINT(...) is the single macro for all logging: same format as
 * printf()/printk(); when USE_LOGGING is undefined it compiles to no-op.
 * ──────────────────────────────────────────────────────────── */

/* Uncomment to enable (or pass -DUSE_LOGGING etc. from build): */
// #define USE_LOGGING
// #define USE_STATUS_LED
// #define USE_LOW_TX_POWER
// #define USE_LOW_RADIO_DUTY_CYCLE
#define USE_BLE


#ifdef USE_LOGGING
#define LOG_PRINT(...) printk(__VA_ARGS__)
#else
#define LOG_PRINT(...) do { } while (0)
#endif

// GET_THRESHOLD_SERVICE=4fafc202-1fb5-459e-8fcc-c5c9c331914c
// GET_THRESHOLD_CHARACTERISTIC=beb5483f-36e1-4688-b7f5-ea07361b26a9
// 1. UUID VALUE DEFINITIONS (for BT_DATA_BYTES)
#define BT_UUID_GET_THRESHOLD_SERVICE_VAL        BT_UUID_128_ENCODE(0x4fafc202, 0x1fb5, 0x459e, 0x8fcc, 0xc5c9c331914c)
#define BT_UUID_GET_THRESHOLD_CHARACTERISTIC_VAL BT_UUID_128_ENCODE(0xbeb5483f, 0x36e1, 0x4688, 0xb7f5, 0xea07361b26a9)

// SET_THRESHOLD_SERVICE=4fafc201-1fb5-459e-8fcc-c5c9c331914b
// SET_THRESHOLD_CHARACTERISTIC=beb5483e-36e1-4688-b7f5-ea07361b26a8
#define BT_UUID_SET_THRESHOLD_SERVICE_VAL        BT_UUID_128_ENCODE(0x4fafc201, 0x1fb5, 0x459e, 0x8fcc, 0xc5c9c331914b)
#define BT_UUID_SET_THRESHOLD_CHARACTERISTIC_VAL BT_UUID_128_ENCODE(0xbeb5483e, 0x36e1, 0x4688, 0xb7f5, 0xea07361b26a8)

// GET_BATTERY_SERVICE=4fafc203-1fb5-459e-8fcc-c5c9c331914a
// GET_BATTERY_CHARACTERISTIC=beb54840-36e1-4688-b7f5-ea07361b26ab
#define BT_UUID_GET_BATTERY_SERVICE_VAL          BT_UUID_128_ENCODE(0x4fafc203, 0x1fb5, 0x459e, 0x8fcc, 0xc5c9c331914a)
#define BT_UUID_GET_BATTERY_CHARACTERISTIC_VAL   BT_UUID_128_ENCODE(0xbeb54840, 0x36e1, 0x4688, 0xb7f5, 0xea07361b26ab)


// GET_SOUND_LEVEL_SERVICE=4fafc203-1fb5-459e-8fcc-c5c9c331914e
// GET_SOUND_LEVEL_CHARACTERISTIC=beb54840-36e1-4688-b7f5-ea07361b26ac
#define BT_UUID_GET_SOUND_LEVEL_SERVICE_VAL      BT_UUID_128_ENCODE(0x4fafc203, 0x1fb5, 0x459e, 0x8fcc, 0xc5c9c331914e)
#define BT_UUID_GET_SOUND_LEVEL_CHARACTERISTIC_VAL BT_UUID_128_ENCODE(0xbeb54840, 0x36e1, 0x4688, 0xb7f5, 0xea07361b26ac)

// SET_SOUND_LEVEL_SERVICE=4fafc203-1fb5-459e-8fcc-c5c9c331914f
// SET_SOUND_LEVEL_CHARACTERISTIC=beb54840-36e1-4688-b7f5-ea07361b26ad
#define BT_UUID_SET_SOUND_LEVEL_SERVICE_VAL      BT_UUID_128_ENCODE(0x4fafc203, 0x1fb5, 0x459e, 0x8fcc, 0xc5c9c331914f)
#define BT_UUID_SET_SOUND_LEVEL_CHARACTERISTIC_VAL BT_UUID_128_ENCODE(0xbeb54840, 0x36e1, 0x4688, 0xb7f5, 0xea07361b26ad)

// THRESHOLD_ALERT_SERVICE=4fafc203-1fb5-459e-8fcc-c5c9c331914d
// THRESHOLD_ALERT_CHARACTERISTIC=beb54840-36e1-4688-b7f5-ea07361b26aa
#define BT_UUID_THRESHOLD_ALERT_SERVICE_VAL      BT_UUID_128_ENCODE(0x4fafc203, 0x1fb5, 0x459e, 0x8fcc, 0xc5c9c331914d)
#define BT_UUID_THRESHOLD_ALERT_CHARACTERISTIC_VAL BT_UUID_128_ENCODE(0xbeb54840, 0x36e1, 0x4688, 0xb7f5, 0xea07361b26aa)

// BABY_CRY_SERVICE=4fafc205-1fb5-459e-8fcc-c5c9c3319151
// BABY_CRY_CHARACTERISTIC=beb54842-36e1-4688-b7f5-ea07361b26af
#define BT_UUID_BABY_CRY_SERVICE_VAL             BT_UUID_128_ENCODE(0x4fafc205, 0x1fb5, 0x459e, 0x8fcc, 0xc5c9c3319151)
#define BT_UUID_BABY_CRY_CHARACTERISTIC_VAL      BT_UUID_128_ENCODE(0xbeb54842, 0x36e1, 0x4688, 0xb7f5, 0xea07361b26af)

//
// int MICSENSE_service_init (void);
extern uint8_t r, g, b;
extern float db;
extern int16_t db_int;
extern uint8_t alertThreshold;
extern uint8_t threshold_value;
extern uint8_t sound_streaming_enabled;


extern struct bt_conn *my_connection;
extern bool notify_enabled;

extern const struct bt_gatt_attr *alert_threshold_attr;
extern const struct bt_gatt_attr *getStreamService_attr;
extern const struct bt_gatt_attr *baby_cry_attr;
extern uint8_t baby_cry_detected;
// extern volatile bool ble_ready = false;

enum ble_state {
    BLE_STATE_IDLE,
    BLE_STATE_ADVERTISING,
    BLE_STATE_CONNECTING,
    BLE_STATE_CONNECTED
};

/* LED helpers (no-op when USE_STATUS_LED is not defined; implemented in main.c) */
void update_led_strip(uint8_t r, uint8_t g, uint8_t b);
void update_led_state(enum ble_state state);

/* Initialize the MICSENSE BLE service */
int MICSENSE_service_init(void);

/* Initialize BLE stack */
int init_ble(void);

/* BLE Connection Callbacks */
void on_cccd_changed(const struct bt_gatt_attr *attr, uint16_t value);
```
